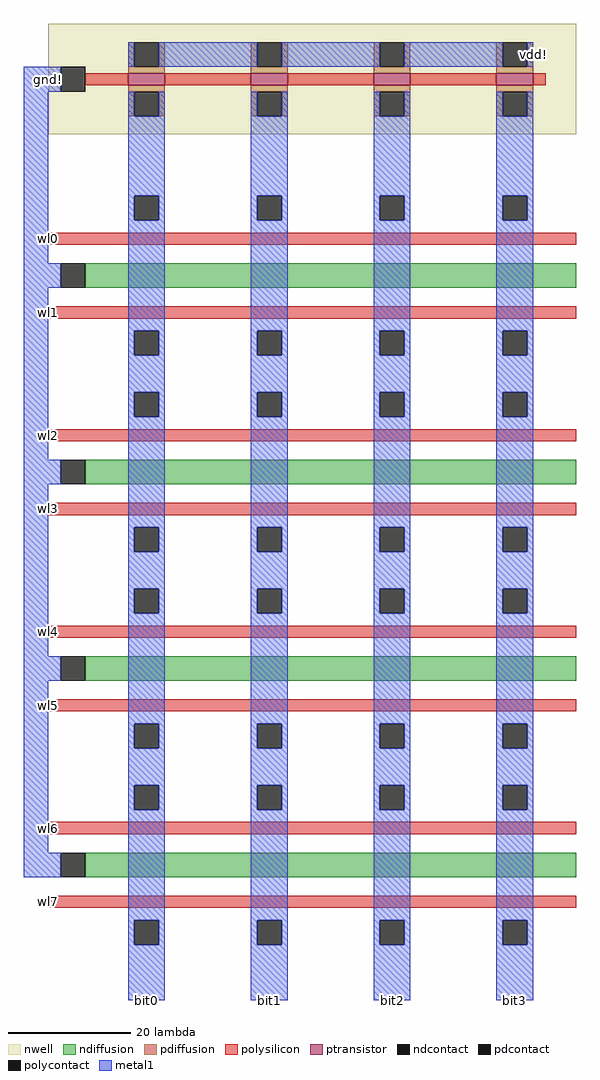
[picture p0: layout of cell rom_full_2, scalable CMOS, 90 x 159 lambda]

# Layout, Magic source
magic
tech scmos
<< nwell >>
rect -59 28 27 46
<< polysilicon >>
rect -53 36 -46 38
rect -40 36 -26 38
rect -20 36 -6 38
rect 0 36 14 38
rect 20 36 22 38
rect -59 10 -52 12
rect -59 -2 -52 0
rect -59 -22 -52 -20
rect -59 -34 -52 -32
rect -59 -54 -52 -52
rect -59 -66 -52 -64
rect -59 -86 -52 -84
rect -59 -98 -52 -96
<< pdiffusion >>
rect -46 39 -45 43
rect -41 39 -40 43
rect -46 38 -40 39
rect -26 39 -25 43
rect -21 39 -20 43
rect -26 38 -20 39
rect -6 39 -5 43
rect -1 39 0 43
rect -6 38 0 39
rect 14 39 15 43
rect 19 39 20 43
rect 14 38 20 39
rect -46 35 -40 36
rect -46 31 -45 35
rect -41 31 -40 35
rect -26 35 -20 36
rect -26 31 -25 35
rect -21 31 -20 35
rect -6 35 0 36
rect -6 31 -5 35
rect -1 31 0 35
rect 14 35 20 36
rect 14 31 15 35
rect 19 31 20 35
<< metal1 >>
rect -46 39 -45 43
rect -41 39 -25 43
rect -21 39 -5 43
rect -1 39 15 43
rect 19 39 20 43
rect -63 35 -57 39
rect -63 7 -59 35
rect -46 31 -45 35
rect -41 31 -40 35
rect -46 21 -40 31
rect -26 31 -25 35
rect -21 31 -20 35
rect -26 19 -20 31
rect -6 31 -5 35
rect -1 31 0 35
rect -6 21 0 31
rect 14 31 15 35
rect 19 31 20 35
rect 14 21 20 31
rect -63 3 -57 7
rect -63 -25 -59 3
rect -63 -29 -57 -25
rect -63 -57 -59 -29
rect -63 -61 -57 -57
rect -63 -89 -59 -61
rect -63 -93 -57 -89
rect -46 -113 -40 -106
rect -26 -113 -20 -106
rect -6 -113 0 -106
rect 14 -113 20 -106
<< ptransistor >>
rect -46 36 -40 38
rect -26 36 -20 38
rect -6 36 0 38
rect 14 36 20 38
<< polycontact >>
rect -57 35 -53 39
<< ndcontact >>
rect -57 3 -53 7
rect -57 -29 -53 -25
rect -57 -61 -53 -57
rect -57 -93 -53 -89
<< pdcontact >>
rect -45 39 -41 43
rect -25 39 -21 43
rect -5 39 -1 43
rect 15 39 19 43
rect -45 31 -41 35
rect -25 31 -21 35
rect -5 31 -1 35
rect 15 31 19 35
use rom_1bit  rom_1bit_0
transform 1 0 -32 0 1 7
box -21 -4 -1 14
use rom_1bit  rom_1bit_1
transform 1 0 -12 0 1 7
box -21 -4 -1 14
use rom_1bit  rom_1bit_2
transform 1 0 8 0 1 7
box -21 -4 -1 14
use rom_1bit  rom_1bit_3
transform 1 0 28 0 1 7
box -21 -4 -1 14
use rom_1bit  rom_1bit_4
transform -1 0 -54 0 -1 3
box -21 -4 -1 14
use rom_1bit  rom_1bit_7
transform -1 0 -34 0 -1 3
box -21 -4 -1 14
use rom_1bit  rom_1bit_6
transform -1 0 -14 0 -1 3
box -21 -4 -1 14
use rom_1bit  rom_1bit_5
transform -1 0 6 0 -1 3
box -21 -4 -1 14
use rom_1bit  rom_1bit_8
transform 1 0 -32 0 1 -25
box -21 -4 -1 14
use rom_1bit  rom_1bit_9
transform 1 0 -12 0 1 -25
box -21 -4 -1 14
use rom_1bit  rom_1bit_10
transform 1 0 8 0 1 -25
box -21 -4 -1 14
use rom_1bit  rom_1bit_11
transform 1 0 28 0 1 -25
box -21 -4 -1 14
use rom_1bit  rom_1bit_12
transform -1 0 -54 0 -1 -29
box -21 -4 -1 14
use rom_1bit  rom_1bit_13
transform -1 0 -34 0 -1 -29
box -21 -4 -1 14
use rom_1bit  rom_1bit_14
transform -1 0 -14 0 -1 -29
box -21 -4 -1 14
use rom_1bit  rom_1bit_15
transform -1 0 6 0 -1 -29
box -21 -4 -1 14
use rom_1bit  rom_1bit_16
transform 1 0 -32 0 1 -57
box -21 -4 -1 14
use rom_1bit  rom_1bit_17
transform 1 0 -12 0 1 -57
box -21 -4 -1 14
use rom_1bit  rom_1bit_18
transform 1 0 8 0 1 -57
box -21 -4 -1 14
use rom_1bit  rom_1bit_19
transform 1 0 28 0 1 -57
box -21 -4 -1 14
use rom_1bit  rom_1bit_20
transform -1 0 -54 0 -1 -61
box -21 -4 -1 14
use rom_1bit  rom_1bit_21
transform -1 0 -34 0 -1 -61
box -21 -4 -1 14
use rom_1bit  rom_1bit_22
transform -1 0 -14 0 -1 -61
box -21 -4 -1 14
use rom_1bit  rom_1bit_23
transform -1 0 6 0 -1 -61
box -21 -4 -1 14
use rom_1bit  rom_1bit_24
transform 1 0 -32 0 1 -89
box -21 -4 -1 14
use rom_1bit  rom_1bit_25
transform 1 0 -12 0 1 -89
box -21 -4 -1 14
use rom_1bit  rom_1bit_26
transform 1 0 8 0 1 -89
box -21 -4 -1 14
use rom_1bit  rom_1bit_27
transform 1 0 28 0 1 -89
box -21 -4 -1 14
use rom_1bit  rom_1bit_28
transform -1 0 -54 0 -1 -93
box -21 -4 -1 14
use rom_1bit  rom_1bit_29
transform -1 0 -34 0 -1 -93
box -21 -4 -1 14
use rom_1bit  rom_1bit_30
transform -1 0 -14 0 -1 -93
box -21 -4 -1 14
use rom_1bit  rom_1bit_31
transform -1 0 6 0 -1 -93
box -21 -4 -1 14
<< labels >>
rlabel polysilicon -59 10 -59 12 3 wl0
rlabel polysilicon -59 -2 -59 0 3 wl1
rlabel polysilicon -59 -22 -59 -20 3 wl2
rlabel polysilicon -59 -34 -59 -32 3 wl3
rlabel polysilicon -59 -54 -59 -52 3 wl4
rlabel polysilicon -59 -66 -59 -64 3 wl5
rlabel polysilicon -59 -86 -59 -84 3 wl6
rlabel polysilicon -59 -98 -59 -96 3 wl7
rlabel metal1 -46 -113 -40 -113 1 bit0
rlabel metal1 -26 -113 -20 -113 1 bit1
rlabel metal1 -6 -113 0 -113 1 bit2
rlabel metal1 20 39 20 43 5 vdd!
rlabel metal1 -59 35 -59 39 3 gnd!
rlabel metal1 14 -113 20 -113 1 bit3
<< end >>

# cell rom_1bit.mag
magic
tech scmos
<< polysilicon >>
rect -21 3 -1 5
<< ndiffusion >>
rect -21 -4 -1 0
<< metal1 >>
rect -14 11 -8 14
rect -14 7 -13 11
rect -9 7 -8 11
rect -14 -4 -8 7
<< ndcontact >>
rect -13 7 -9 11
<< end >>
